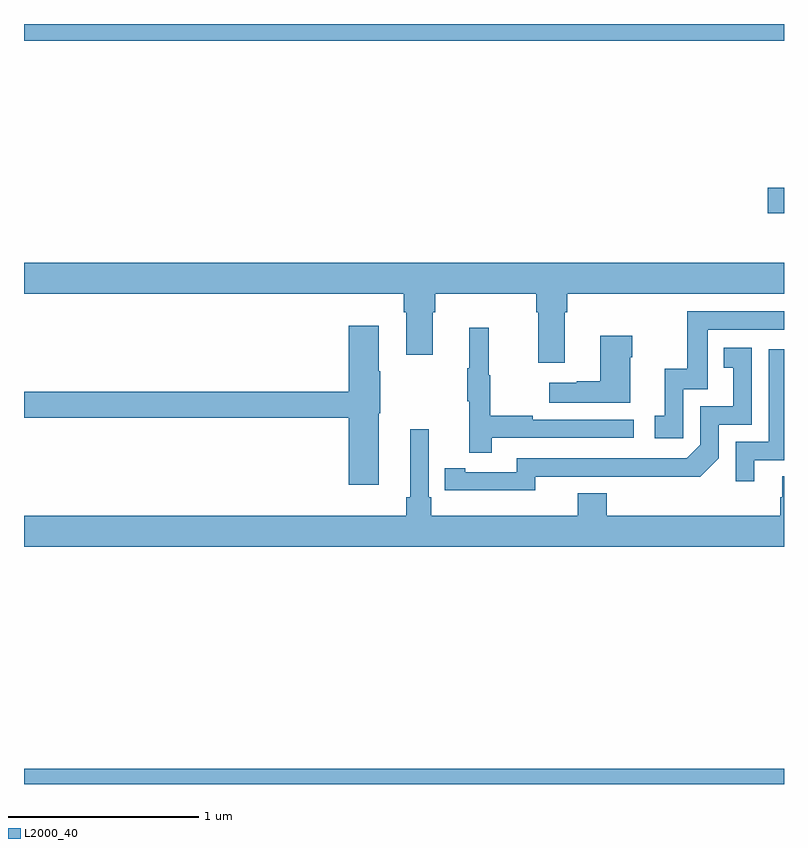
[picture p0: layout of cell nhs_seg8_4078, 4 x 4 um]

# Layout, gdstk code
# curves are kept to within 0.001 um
import gdstk
lib = gdstk.Library(unit=1e-6, precision=1e-09)
def R(c, l, rs):  # rectangles x0, y0, x1, y1
    for r in rs: c.add(gdstk.rectangle(r[:2], r[2:], *l))
def P(c, l, *ps):  # polygons
    for p in ps: c.add(gdstk.Polygon(p, *l))
L2000_40 = (2000, 40)

nhs_seg8_4078 = lib.new_cell('nhs_seg8_4078')
R(nhs_seg8_4078, L2000_40, [(361,1133.9,365,1133.98), (364.914,1136.903,365,1137.038), (361,1137.812,365,1137.9)])
P(nhs_seg8_4078, L2000_40, [(363.847,1136.384),(363.86,1136.384),(363.86,1136.48),(365,1136.48),(365,1136.644),(361,1136.644),(361,1136.48),(362.999,1136.48),(362.999,1136.384),(363.011,1136.384),(363.011,1136.16),(363.151,1136.16),(363.151,1136.384),(363.164,1136.384),(363.164,1136.48),(363.695,1136.48),(363.695,1136.384),(363.707,1136.384),(363.707,1136.118),(363.847,1136.118)],
  [(364.47,1135.977),(364.599,1135.977),(364.599,1136.292),(365,1136.292),(365,1136.388),(364.491,1136.388),(364.491,1136.086),(364.373,1136.086),(364.373,1135.839),(364.32,1135.839),(364.32,1135.719),(364.47,1135.719)],
  [(362.866,1135.851),(362.874,1135.851),(362.874,1136.072),(362.866,1136.072),(362.866,1136.311),(362.708,1136.311),(362.708,1135.964),(361,1135.964),(361,1135.828),(362.708,1135.828),(362.708,1135.476),(362.866,1135.476)],
  [(363.461,1135.722),(364.21,1135.722),(364.21,1135.818),(363.677,1135.818),(363.677,1135.838),(363.454,1135.838),(363.454,1136.052),(363.446,1136.052),(363.446,1136.302),(363.344,1136.302),(363.344,1136.089),(363.333,1136.089),(363.333,1135.915),(363.344,1135.915),(363.344,1135.644),(363.461,1135.644)],
  [(364.192,1136.147),(364.2,1136.147),(364.2,1136.26),(364.034,1136.26),(364.034,1136.021),(363.908,1136.021),(363.908,1136.011),(363.765,1136.011),(363.765,1135.907),(364.192,1135.907)],
  [(363.69,1135.518),(364.558,1135.517),(364.656,1135.614),(364.656,1135.791),(364.83,1135.791),(364.83,1136.197),(364.684,1136.197),(364.684,1136.091),(364.733,1136.091),(364.733,1135.887),(364.56,1135.887),(364.56,1135.686),(364.488,1135.614),(363.594,1135.614),(363.594,1135.542),(363.322,1135.542),(363.322,1135.562),(363.214,1135.562),(363.214,1135.446),(363.69,1135.445)],
  [(364.843,1135.605),(365,1135.605),(365,1136.187),(364.92,1136.187),(364.92,1135.701),(364.746,1135.701),(364.746,1135.494),(364.843,1135.494)],
  [(365,1135.52),(364.991,1135.52),(364.991,1135.41),(364.979,1135.41),(364.979,1135.312),(364.067,1135.312),(364.067,1135.429),(363.914,1135.429),(363.914,1135.312),(363.143,1135.312),(363.143,1135.408),(363.129,1135.408),(363.129,1135.768),(363.032,1135.768),(363.032,1135.408),(363.013,1135.408),(363.013,1135.312),(361,1135.312),(361,1135.148),(365,1135.148)])

lib.write_gds('nhs_seg8_4078.gds')
